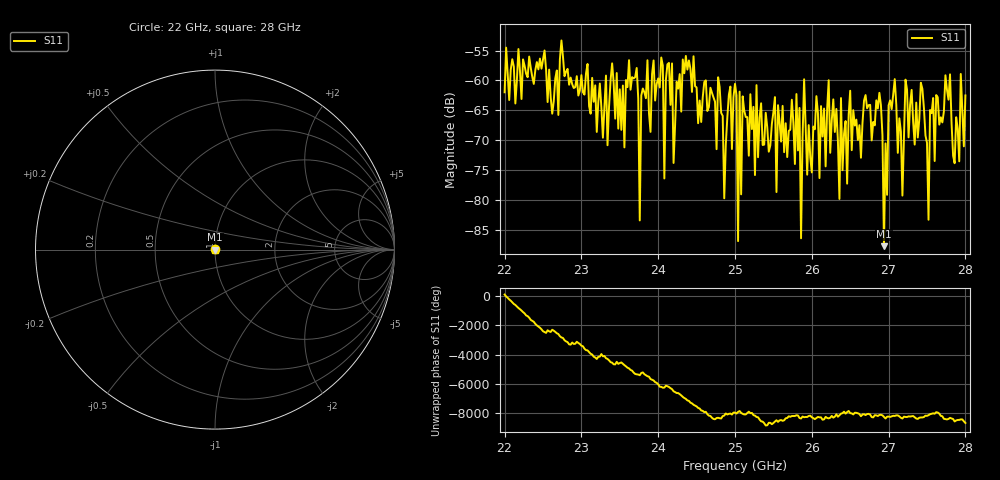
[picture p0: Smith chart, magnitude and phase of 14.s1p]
#  HZ  S  RI  R  50.00
! Rohde & Schwarz ZVA40 4Ports - Version 3.90 - 1145.1110k42 SN: 100403
! Date: 2023-10-04 09:34:54
! Measurement: S12
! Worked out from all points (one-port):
!   301 points, 22 GHz to 28 GHz, reference 50 ohm
!   lowest |S11| = -87.7 dB at 26.94 GHz (marker M1), VSWR 1.00, Z = 50 + j0.00202 ohm
!   |S11| at or under -10 dB: start of sweep to end of sweep
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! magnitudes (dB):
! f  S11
! 22 GHz  -62.0
! 22.76 GHz  -56.0
! 23.5 GHz  -61.5
! 23.72 GHz  -57.9
! 23.76 GHz  -83.4
! 23.86 GHz  -56.6
! 24.06 GHz  -57.5
! 24.08 GHz  -76.4
! 24.12 GHz  -57.3
! 24.26 GHz  -61.4
! 24.78 GHz  -59.5
! 24.86 GHz  -79.7
! 25 GHz  -60.6
! 25.04 GHz  -86.9
! 25.06 GHz  -61.9
! 25.08 GHz  -79.0
! 25.1 GHz  -62.7
! 25.76 GHz  -67.1
! 26.1 GHz  -76.3
! 26.22 GHz  -60.0
! 26.36 GHz  -79.8
! 26.38 GHz  -62.9
! 26.5 GHz  -61.7
! 26.88 GHz  -62.1
! 26.94 GHz  -87.7
! 27.08 GHz  -59.8
! 27.26 GHz  -69.5
! 28 GHz  -62.5
